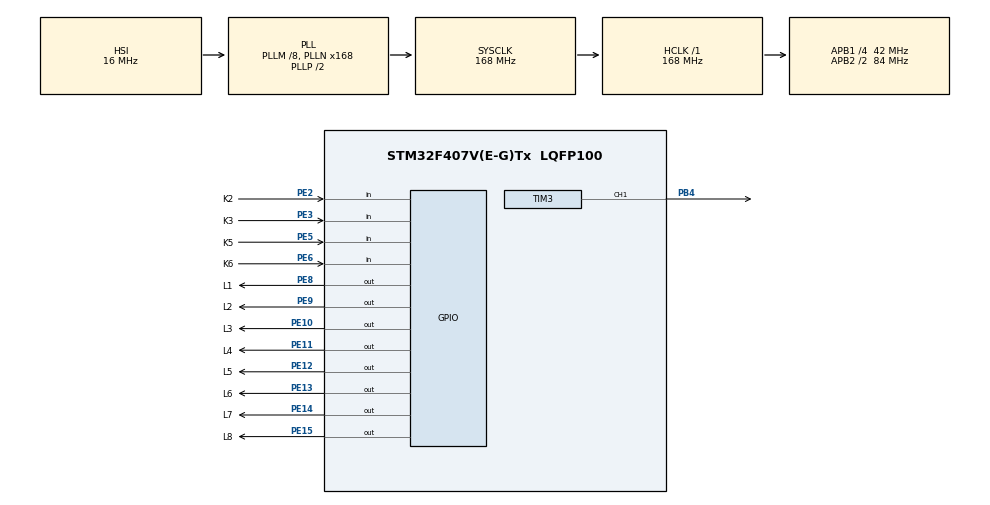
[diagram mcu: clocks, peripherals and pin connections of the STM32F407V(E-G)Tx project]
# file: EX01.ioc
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Mcu.Family=STM32F4
Mcu.Name=STM32F407V(E-G)Tx
Mcu.Package=LQFP100
NVIC.PriorityGroup=NVIC_PRIORITYGROUP_4
PB4.Signal=S_TIM3_CH1
PC14-OSC32_IN.Mode=LSE-External-Oscillator
PC14-OSC32_IN.Signal=RCC_OSC32_IN
PC15-OSC32_OUT.Mode=LSE-External-Oscillator
PC15-OSC32_OUT.Signal=RCC_OSC32_OUT
PE10.GPIO_Label=L3
PE10.GPIO_ModeDefaultOutputPP=GPIO_MODE_OUTPUT_PP
PE10.GPIO_PuPd=GPIO_NOPULL
PE10.GPIO_Speed=GPIO_SPEED_FREQ_LOW
PE10.PinState=GPIO_PIN_SET
PE10.Signal=GPIO_Output
PE11.GPIO_Label=L4
PE11.GPIO_ModeDefaultOutputPP=GPIO_MODE_OUTPUT_PP
PE11.GPIO_PuPd=GPIO_NOPULL
PE11.GPIO_Speed=GPIO_SPEED_FREQ_LOW
PE11.PinState=GPIO_PIN_SET
PE11.Signal=GPIO_Output
PE12.GPIO_Label=L5
PE12.GPIO_ModeDefaultOutputPP=GPIO_MODE_OUTPUT_PP
PE12.GPIO_PuPd=GPIO_NOPULL
PE12.GPIO_Speed=GPIO_SPEED_FREQ_LOW
PE12.PinState=GPIO_PIN_SET
PE12.Signal=GPIO_Output
PE13.GPIO_Label=L6
PE13.GPIO_ModeDefaultOutputPP=GPIO_MODE_OUTPUT_PP
PE13.GPIO_PuPd=GPIO_NOPULL
PE13.GPIO_Speed=GPIO_SPEED_FREQ_LOW
PE13.PinState=GPIO_PIN_SET
PE13.Signal=GPIO_Output
PE14.GPIO_Label=L7
PE14.GPIO_ModeDefaultOutputPP=GPIO_MODE_OUTPUT_PP
PE14.GPIO_PuPd=GPIO_NOPULL
PE14.GPIO_Speed=GPIO_SPEED_FREQ_LOW
PE14.PinState=GPIO_PIN_SET
PE14.Signal=GPIO_Output
PE15.GPIO_Label=L8
PE15.GPIO_ModeDefaultOutputPP=GPIO_MODE_OUTPUT_PP
PE15.GPIO_PuPd=GPIO_NOPULL
PE15.GPIO_Speed=GPIO_SPEED_FREQ_LOW
PE15.PinState=GPIO_PIN_SET
PE15.Signal=GPIO_Output
PE2.GPIO_Label=K2
PE2.GPIO_PuPd=GPIO_PULLUP
PE2.Signal=GPIO_Input
PE3.GPIO_Label=K3
PE3.GPIO_PuPd=GPIO_PULLUP
PE3.Signal=GPIO_Input
PE5.GPIO_Label=K5
PE5.GPIO_PuPd=GPIO_PULLDOWN
PE5.Signal=GPIO_Input
PE6.GPIO_Label=K6
PE6.GPIO_PuPd=GPIO_PULLDOWN
PE6.Signal=GPIO_Input
PE8.GPIO_Label=L1
PE8.GPIO_ModeDefaultOutputPP=GPIO_MODE_OUTPUT_PP
PE8.GPIO_PuPd=GPIO_NOPULL
PE8.GPIO_Speed=GPIO_SPEED_FREQ_LOW
PE8.PinState=GPIO_PIN_SET
PE8.Signal=GPIO_Output
PE9.GPIO_Label=L2
PE9.GPIO_ModeDefaultOutputPP=GPIO_MODE_OUTPUT_PP
PE9.GPIO_PuPd=GPIO_NOPULL
PE9.GPIO_Speed=GPIO_SPEED_FREQ_LOW
PE9.PinState=GPIO_PIN_SET
PE9.Signal=GPIO_Output
PH0-OSC_IN.Mode=HSE-External-Oscillator
PH0-OSC_IN.Signal=RCC_OSC_IN
PH1-OSC_OUT.Mode=HSE-External-Oscillator
PH1-OSC_OUT.Signal=RCC_OSC_OUT
ProjectManager.HeapSize=0x200
ProjectManager.StackSize=0x400
ProjectManager.TargetToolchain=MDK-ARM V5.27
RCC.48MHZClocksFreq_Value=84000000
RCC.AHBFreq_Value=168000000
RCC.APB1CLKDivider=RCC_HCLK_DIV4
RCC.APB1Freq_Value=42000000
RCC.APB1TimFreq_Value=84000000
RCC.APB2CLKDivider=RCC_HCLK_DIV2
RCC.APB2Freq_Value=84000000
RCC.APB2TimFreq_Value=168000000
RCC.CortexFreq_Value=168000000
RCC.HCLKFreq_Value=168000000
RCC.HSE_VALUE=25000000
RCC.HSI_VALUE=16000000
RCC.PLLM=8
RCC.PLLN=168
RCC.SYSCLKFreq_VALUE=168000000
RCC.SYSCLKSource=RCC_SYSCLKSOURCE_PLLCLK
RCC.VCOOutputFreq_Value=336000000
SH.S_TIM3_CH1.0=TIM3_CH1,PWM Generation1 CH1
TIM3.AutoReloadPreload=TIM_AUTORELOAD_PRELOAD_DISABLE
TIM3.Channel-PWM\ Generation1\ CH1=TIM_CHANNEL_1
TIM3.Period=2000-1
TIM3.Prescaler=168-1
TIM3.Pulse-PWM\ Generation1\ CH1=1000
VP_TIM3_VS_ClockSourceINT.Mode=Internal
board=custom

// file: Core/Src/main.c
/* USER CODE BEGIN Header */
/**
  ******************************************************************************
  * @file           : main.c
  * @brief          : Main program body
  ******************************************************************************
  * @attention
  *
  * <h2><center>&copy; Copyright (c) 2021 STMicroelectronics.
  * All rights reserved.</center></h2>
  *
  * This software component is licensed by ST under BSD 3-Clause license,
  * the "License"; You may not use this file except in compliance with the
  * License. You may obtain a copy of the License at:
  *                        opensource.org/licenses/BSD-3-Clause
  *
  ******************************************************************************
  */
/* USER CODE END Header */
#include "main.h"
#include "tim.h"
#include "gpio.h"

/* USER CODE BEGIN Includes */
#include "led.h"
#include "beep.h"
#include "delay.h"
/* USER CODE END Includes */

/* USER CODE BEGIN PV */
extern uint8_t kEY_VOL[][2];
/* USER CODE END PV */

void SystemClock_Config(void);

int main(void)
{

  /* MCU Configuration--------------------------------------------------------*/

  /* Reset of all peripherals, Initializes the Flash interface and the Systick. */
  HAL_Init();

  /* USER CODE BEGIN Init */
	Delay_Init(168);
  /* USER CODE END Init */

  /* Configure the system clock */
  SystemClock_Config();

  /* Initialize all configured peripherals */
  MX_GPIO_Init();
  MX_TIM3_Init();
  /* USER CODE BEGIN 2 */
	uint8_t sta=0x01;
	uint8_t run=0x01;
	int dalay_time = 100;//延迟时间

	Beep_Init_TIM(&htim3,TIM_CHANNEL_1,500);

  /* USER CODE END 2 */

  /* Infinite loop */
  /* USER CODE BEGIN WHILE */
  while (1)
  {
		Set_leds(sta);
		HAL_Delay(dalay_time);

    /* USER CODE END WHILE */

    /* USER CODE BEGIN 3 */
		if(run){
			if(sta<0x80)
				sta<<=1;
			else
				sta=0x01;
		}
		//按键扫描
		uint8_t key = Key_scan();
		if(key == 5){

			Beep_Beep(kEY_VOL[0][0],kEY_VOL[0][1],200);//音调1
			run = 1;
		}
		if(key == 6){

		  Beep_Beep(kEY_VOL[1][0],kEY_VOL[1][1],200);//音调1
			run = 0;
		}
		//速度切换
		if(key == 2){
			Beep_Beep(kEY_VOL[2][0],kEY_VOL[2][1],200);//音调1

			dalay_time=(dalay_time+200);
			if(dalay_time>500) dalay_time=100;
		}
		else if(key == 3){
			Beep_Beep(kEY_VOL[3][0],kEY_VOL[3][1],200);//音调1

			dalay_time=(dalay_time-200);
			if(dalay_time<100) dalay_time=500;
		}

  }
  /* USER CODE END 3 */
}

void SystemClock_Config(void)
{
  RCC_OscInitTypeDef RCC_OscInitStruct = {0};
  RCC_ClkInitTypeDef RCC_ClkInitStruct = {0};

  /** Configure the main internal regulator output voltage
  */
  __HAL_RCC_PWR_CLK_ENABLE();
  __HAL_PWR_VOLTAGESCALING_CONFIG(PWR_REGULATOR_VOLTAGE_SCALE1);
  /** Initializes the RCC Oscillators according to the specified parameters
  * in the RCC_OscInitTypeDef structure.
  */
  RCC_OscInitStruct.OscillatorType = RCC_OSCILLATORTYPE_HSI;
  RCC_OscInitStruct.HSIState = RCC_HSI_ON;
  RCC_OscInitStruct.HSICalibrationValue = RCC_HSICALIBRATION_DEFAULT;
  RCC_OscInitStruct.PLL.PLLState = RCC_PLL_ON;
  RCC_OscInitStruct.PLL.PLLSource = RCC_PLLSOURCE_HSI;
  RCC_OscInitStruct.PLL.PLLM = 8;
  RCC_OscInitStruct.PLL.PLLN = 168;
  RCC_OscInitStruct.PLL.PLLP = RCC_PLLP_DIV2;
  RCC_OscInitStruct.PLL.PLLQ = 4;
  if (HAL_RCC_OscConfig(&RCC_OscInitStruct) != HAL_OK)
  {
    Error_Handler();
  }
  /** Initializes the CPU, AHB and APB buses clocks
  */
  RCC_ClkInitStruct.ClockType = RCC_CLOCKTYPE_HCLK|RCC_CLOCKTYPE_SYSCLK
                              |RCC_CLOCKTYPE_PCLK1|RCC_CLOCKTYPE_PCLK2;
  RCC_ClkInitStruct.SYSCLKSource = RCC_SYSCLKSOURCE_PLLCLK;
  RCC_ClkInitStruct.AHBCLKDivider = RCC_SYSCLK_DIV1;
  RCC_ClkInitStruct.APB1CLKDivider = RCC_HCLK_DIV4;
  RCC_ClkInitStruct.APB2CLKDivider = RCC_HCLK_DIV2;

  if (HAL_RCC_ClockConfig(&RCC_ClkInitStruct, FLASH_LATENCY_5) != HAL_OK)
  {
    Error_Handler();
  }
}

void Error_Handler(void)
{
  __disable_irq();
  while (1)
  {
  }
}

/************************ (C) COPYRIGHT STMicroelectronics *****END OF FILE****/
